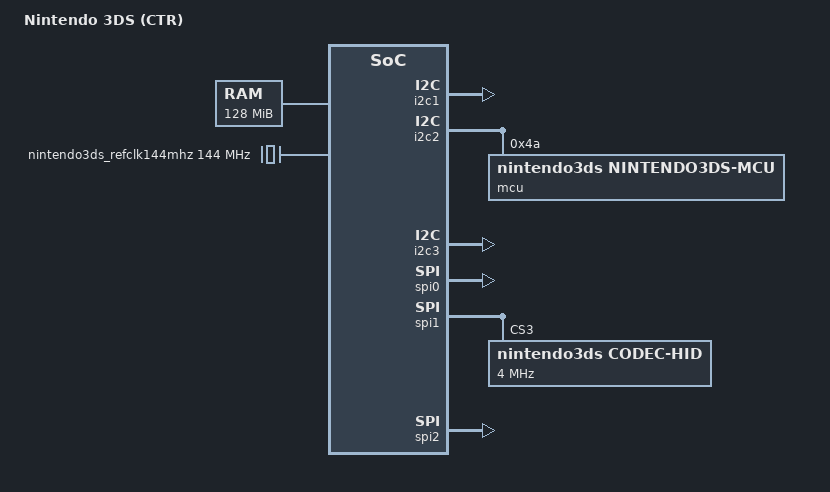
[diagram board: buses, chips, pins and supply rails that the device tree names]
/dts-v1/;
#include <dt-bindings/interrupt-controller/arm-gic.h>

/ {
	model = "Nintendo 3DS (CTR)";
	compatible = "nintendo3ds,ctr";
	interrupt-parent = <&gic>;
	#address-cells = <1>;
	#size-cells = <1>;

	chosen {
		/* No FB: bootargs = "earlyprintk keep_bootcon fbcon=rotate:1 init=/init"; */

		bootargs = "nr_cpus=2 keep_bootcon fbcon=rotate:1 root=/dev/ram0 init=init console=tty0";

		#address-cells = <1>;
		#size-cells = <1>;
		ranges;

		framebuffer0: framebuffer@18000000 {
			compatible = "simple-framebuffer";
			reg = <0x18000000 (400*240*3)>;
			width = <240>;
			height = <400>;
			stride = <(240*3)>;
			format = "r8g8b8";
		};

		/*framebuffer1: framebuffer@18119400 {
			compatible = "simple-framebuffer";
			reg = <0x18119400 (320*240*3)>;
			width = <240>;
			height = <320>;
			stride = <(240*3)>;
			format = "r8g8b8";
		};*/

	};

	memory {
		device_type = "memory";

		/* 128 MiB FCRAM memory @ 0x20000000 */
		reg = <0x20000000 0x08000000>;
	};

	cpus {
		#address-cells = <1>;
		#size-cells = <0>;
		enable-method = "nintendo3ds,smp";

		cpu@0 {
			device_type = "cpu";
			compatible = "arm,arm11mpcore";
			reg = <0>;
		};

		cpu@1 {
			device_type = "cpu";
			compatible = "arm,arm11mpcore";
			reg = <1>;
		};
	};

	n3ds_input0: input@10146000 {
		compatible = "nintendo3ds-input";
	};

	i2c1: i2c@10161000 {
		#address-cells = <1>;
		#size-cells = <0>;
		compatible = "nintendo3ds,nintendo3ds-i2c";
		reg = <0x10161000 0x1000>;
	};

	i2c2: i2c@10144000 {
		#address-cells = <1>;
		#size-cells = <0>;
		compatible = "nintendo3ds,nintendo3ds-i2c";
		reg = <0x10144000 0x1000>;

		mcu@4A {
			#address-cells = <1>;
			#size-cells = <0>;
			compatible = "nintendo3ds,nintendo3ds-mcu";
			reg = <0x4A>;

			powercontrol@20 {
				compatible = "nintendo3ds,nintendo3ds-powercontrol";
				reg = <020>;
			};

			rtc@30 {
				compatible = "nintendo3ds,nintendo3ds-rtc";
				reg = <0x30>;
			};
		};
	};

	i2c3: i2c@10148000 {
		#address-cells = <1>;
		#size-cells = <0>;
		compatible = "nintendo3ds,nintendo3ds-i2c";
		reg = <0x10148000 0x06>;
	};

	spi0: spi@10160000 {
		#address-cells = <1>;
		#size-cells = <0>;
		compatible = "nintendo3ds,nintendo3ds-spi";
		reg = <0x10160000 0x1000>;
		interrupts =
			<GIC_SPI 0x56 IRQ_TYPE_EDGE_RISING>,
			<GIC_SPI 0x57 IRQ_TYPE_EDGE_RISING>;
		interrupt-parent = <&gic>;
	};

	spi1: spi@10142000 {
		#address-cells = <1>;
		#size-cells = <0>;
		compatible = "nintendo3ds,nintendo3ds-spi";
		reg = <0x10142000 0x1000>;
		interrupts =
			<GIC_SPI 0x56 IRQ_TYPE_EDGE_RISING>,
			<GIC_SPI 0x57 IRQ_TYPE_EDGE_RISING>;
		interrupt-parent = <&gic>;

		codec-hid@3 {
			compatible = "nintendo3ds,codec-hid";
			spi-max-frequency = <4000000>;
			reg = <3>;

			touchscreen-size-x = <4096>;
			touchscreen-size-y = <4096>;
			touchscreen-inverted-y;
			touchscreen-swapped-x-y;
		};
	};

	spi2: spi@10143000 {
		#address-cells = <1>;
		#size-cells = <0>;
		compatible = "nintendo3ds,nintendo3ds-spi";
		reg = <0x10143000 0x1000>;
		interrupts =
			<GIC_SPI 0x56 IRQ_TYPE_EDGE_RISING>,
			<GIC_SPI 0x57 IRQ_TYPE_EDGE_RISING>;
		interrupt-parent = <&gic>;
	};

	mmc0: mmc@0 {
		compatible = "nintendo3ds-mmc";
	};

	nintendo3ds_refclk144mhz: refclk144mkhz {
		compatible = "fixed-clock";
		#clock-cells = <0>;
		clock-frequency = <144000000>;
		clock-output-names = "nintendo3ds:refclk144khz";
	};

	twd-timer@17E00600 {
		compatible = "arm,arm11mp-twd-timer";
		reg = <0x17E00600 0x20>;
		interrupts = <GIC_PPI 13 (GIC_CPU_MASK_RAW(0xF) | IRQ_TYPE_EDGE_RISING)>;
		clocks = <&nintendo3ds_refclk144mhz>;
	};

	twd-watchdog@17E00620 {
		compatible = "arm,arm11mp-twd-wdt";
		reg = <0x17E00620 0x20>;
		interrupts = <GIC_PPI 14 (GIC_CPU_MASK_RAW(0xF) | IRQ_TYPE_EDGE_RISING)>;
	};

	gic: interrupt-controller@17E01000 {
		compatible = "arm,arm11mp-gic";
		#interrupt-cells = <3>;
		#address-cells = <1>;
		interrupt-controller;
		reg = <0x17E01000 0x1000>, //GIC distributor register
		      <0x17E00100 0x100>;  //GIC cpu interface register
	};

	scu@17E00000 {
		compatible = "arm,arm11mp-scu";
		reg = <0x17E00000 0x100>;
	};

	amba {
		#address-cells = <1>;
		#size-cells = <1>;
		compatible = "arm,amba-bus";
		interrupt-parent = <&gic>;
		ranges;

		dma@10200000 {
			compatible = "arm,pl330", "arm,primecell";
			reg = <0x10200000 0x1000>;

			clocks = <&nintendo3ds_refclk144mhz>;
			clock-names = "apb_pclk";

			interrupts =
				<GIC_SPI 0x39 IRQ_TYPE_EDGE_RISING>,
				<GIC_SPI 0x3A IRQ_TYPE_EDGE_RISING>,
				<GIC_SPI 0x3B IRQ_TYPE_EDGE_RISING>;

			#dma-cells = <1>;
			#dma-channels = <8>;
			#dma-requests = <32>;
		};
	};
};
